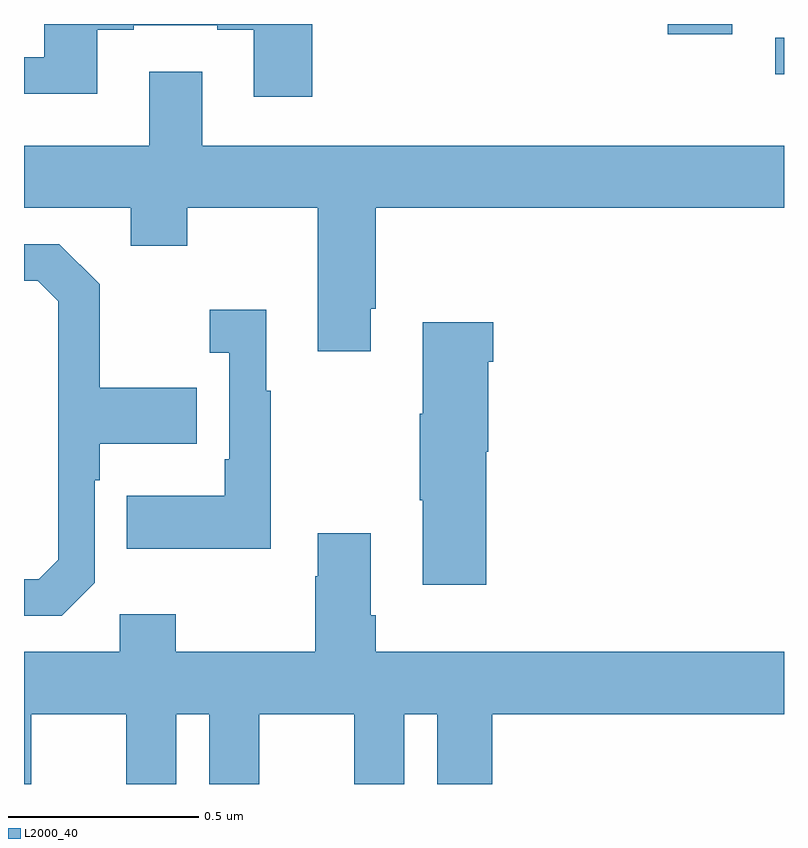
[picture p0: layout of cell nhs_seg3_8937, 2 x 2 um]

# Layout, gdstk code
import gdstk
lib = gdstk.Library(unit=1e-6, precision=1e-09)
def R(c, l, rs):  # rectangles x0, y0, x1, y1
    for r in rs: c.add(gdstk.rectangle(r[:2], r[2:], *l))
def P(c, l, *ps):  # polygons
    for p in ps: c.add(gdstk.Polygon(p, *l))
L2000_40 = (2000, 40)

nhs_seg3_8937 = lib.new_cell('nhs_seg3_8937')
R(nhs_seg3_8937, L2000_40, [(223.977,701.268,224,701.364), (223.694,701.373,223.864,701.4)])
P(nhs_seg3_8937, L2000_40, [(222.758,701.4),(222.053,701.4),(222.053,701.313),(222,701.313),(222,701.216),(222.193,701.216),(222.193,701.385),(222.289,701.385),(222.289,701.397),(222.509,701.397),(222.509,701.385),(222.605,701.385),(222.605,701.208),(222.758,701.208)],
  [(222.913,700.651),(222.926,700.651),(222.926,700.916),(224,700.916),(224,701.08),(222.469,701.08),(222.469,701.275),(222.329,701.275),(222.329,701.08),(222,701.08),(222,700.916),(222.281,700.916),(222.281,700.817),(222.429,700.817),(222.429,700.916),(222.773,700.916),(222.773,700.539),(222.913,700.539)],
  [(222.186,699.93),(222.186,700.199),(222.199,700.199),(222.199,700.295),(222.455,700.295),(222.455,700.443),(222.199,700.443),(222.199,700.715),(222.093,700.821),(222,700.821),(222,700.725),(222.036,700.725),(222.09,700.671),(222.09,699.99),(222.039,699.939),(222,699.939),(222,699.843),(222.099,699.843)],
  [(222.649,700.435),(222.637,700.435),(222.637,700.648),(222.489,700.648),(222.489,700.535),(222.54,700.535),(222.54,700.255),(222.528,700.255),(222.528,700.159),(222.271,700.159),(222.271,700.019),(222.649,700.019)],
  [(223.217,700.275),(223.222,700.275),(223.222,700.511),(223.235,700.511),(223.235,700.615),(223.049,700.615),(223.049,700.375),(223.042,700.375),(223.042,700.147),(223.049,700.147),(223.049,699.924),(223.217,699.924)],
  [(222.019,699.584),(222.269,699.584),(222.269,699.4),(222.4,699.4),(222.4,699.584),(222.488,699.584),(222.488,699.4),(222.619,699.4),(222.619,699.584),(222.869,699.584),(222.869,699.4),(223,699.4),(223,699.584),(223.088,699.584),(223.088,699.4),(223.232,699.4),(223.232,699.584),(224,699.584),(224,699.748),(222.926,699.748),(222.926,699.844),(222.913,699.844),(222.913,700.06),(222.773,700.06),(222.773,699.947),(222.766,699.947),(222.766,699.748),(222.399,699.748),(222.399,699.847),(222.252,699.847),(222.252,699.748),(222,699.748),(222,699.4),(222.019,699.4)])

lib.write_gds('nhs_seg3_8937.gds')
